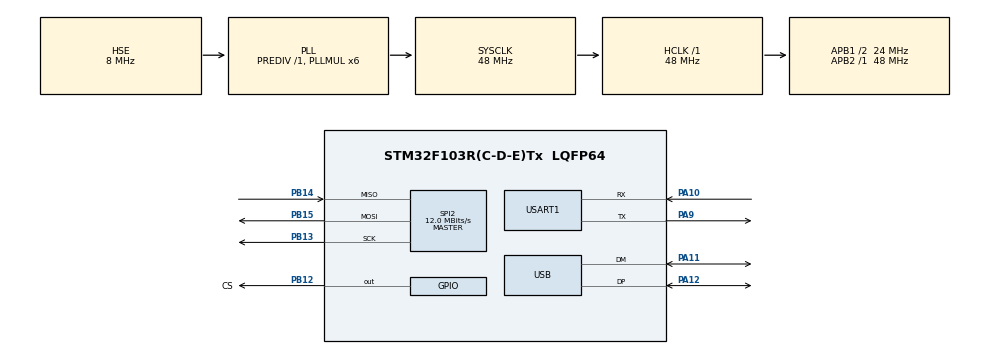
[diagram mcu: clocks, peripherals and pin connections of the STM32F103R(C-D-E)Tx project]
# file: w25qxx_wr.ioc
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Mcu.Family=STM32F1
Mcu.Name=STM32F103R(C-D-E)Tx
Mcu.Package=LQFP64
NVIC.PriorityGroup=NVIC_PRIORITYGROUP_4
NVIC.USART1_IRQn=true\:0\:0\:false\:false\:true\:true\:true\:true
NVIC.USB_LP_CAN1_RX0_IRQn=true\:0\:0\:false\:false\:true\:false\:true\:true
PA10.Mode=Asynchronous
PA10.Signal=USART1_RX
PA11.Mode=Device
PA11.Signal=USB_DM
PA12.Mode=Device
PA12.Signal=USB_DP
PA13.Mode=Serial_Wire
PA13.Signal=SYS_JTMS-SWDIO
PA14.Mode=Serial_Wire
PA14.Signal=SYS_JTCK-SWCLK
PA9.Mode=Asynchronous
PA9.Signal=USART1_TX
PB12.GPIO_Label=CS
PB12.GPIO_Speed=GPIO_SPEED_FREQ_HIGH
PB12.PinState=GPIO_PIN_SET
PB12.Signal=GPIO_Output
PB13.Mode=Full_Duplex_Master
PB13.Signal=SPI2_SCK
PB14.Mode=Full_Duplex_Master
PB14.Signal=SPI2_MISO
PB15.Mode=Full_Duplex_Master
PB15.Signal=SPI2_MOSI
PD0-OSC_IN.Mode=HSE-External-Oscillator
PD0-OSC_IN.Signal=RCC_OSC_IN
PD1-OSC_OUT.Mode=HSE-External-Oscillator
PD1-OSC_OUT.Signal=RCC_OSC_OUT
ProjectManager.HeapSize=0x200
ProjectManager.StackSize=0x400
ProjectManager.TargetToolchain=MDK-ARM V5.32
RCC.AHBFreq_Value=48000000
RCC.APB1CLKDivider=RCC_HCLK_DIV2
RCC.APB1Freq_Value=24000000
RCC.APB1TimFreq_Value=48000000
RCC.APB2Freq_Value=48000000
RCC.APB2TimFreq_Value=48000000
RCC.HCLKFreq_Value=48000000
RCC.PLLMUL=RCC_PLL_MUL6
RCC.PLLSourceVirtual=RCC_PLLSOURCE_HSE
RCC.SYSCLKFreq_VALUE=48000000
RCC.SYSCLKSource=RCC_SYSCLKSOURCE_PLLCLK
RCC.USBFreq_Value=48000000
SPI2.BaudRatePrescaler=SPI_BAUDRATEPRESCALER_2
SPI2.CLKPhase=SPI_PHASE_1EDGE
SPI2.CLKPolarity=SPI_POLARITY_LOW
SPI2.CRCCalculation=SPI_CRCCALCULATION_ENABLE
SPI2.CRCPolynomial=X1+X3
SPI2.CalculateBaudRate=12.0 MBits/s
SPI2.Direction=SPI_DIRECTION_2LINES
SPI2.FirstBit=SPI_FIRSTBIT_MSB
SPI2.Mode=SPI_MODE_MASTER
SPI2.VirtualType=VM_MASTER
USART1.VirtualMode=VM_ASYNC
USB_DEVICE.CLASS_NAME_FS=MSC
USB_DEVICE.MSC_MEDIA_PACKET=4096
USB_DEVICE.VirtualMode=Msc
USB_DEVICE.VirtualModeFS=Msc_FS
VP_USB_DEVICE_VS_USB_DEVICE_MSC_FS.Mode=MSC_FS
board=custom

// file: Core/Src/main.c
/* USER CODE BEGIN Header */
/**
  ******************************************************************************
  * @file           : main.c
  * @brief          : Main program body
  ******************************************************************************
  * @attention
  *
  * Copyright (c) 2023 STMicroelectronics.
  * All rights reserved.
  *
  * This software is licensed under terms that can be found in the LICENSE file
  * in the root directory of this software component.
  * If no LICENSE file comes with this software, it is provided AS-IS.
  *
  ******************************************************************************
  */
/* USER CODE END Header */
#include "main.h"
#include "spi.h"
#include "usart.h"
#include "usb_device.h"
#include "gpio.h"

/* USER CODE BEGIN Includes */
#include <stdio.h>
#include <string.h>
#include "W25Qx.h"
/* USER CODE END Includes */

/* USER CODE BEGIN PD */
#define RX_BUF_LEN 4096
/* USER CODE END PD */

/* USER CODE BEGIN PV */
uint8_t wData[0x100];
uint8_t rData[0x100];
uint16_t ID16;
uint32_t i;
uint8_t USART_RX_BUF[RX_BUF_LEN];

uint16_t write_addr = 0;

extern unsigned char gImage_1[];
unsigned char *image = gImage_1;
/* USER CODE END PV */

void SystemClock_Config(void);

/* USER CODE BEGIN 0 */
int fputc(int ch, FILE *f)
{
    uint8_t temp[1] = {ch};
    HAL_UART_Transmit(&huart1, temp, 1, 2);
    return ch;
}
/* USER CODE END 0 */

int main(void)
{

  /* MCU Configuration--------------------------------------------------------*/

  /* Reset of all peripherals, Initializes the Flash interface and the Systick. */
  HAL_Init();

  /* Configure the system clock */
  SystemClock_Config();

  /* Initialize all configured peripherals */
  MX_GPIO_Init();
  MX_SPI2_Init();
  MX_USART1_UART_Init();
  MX_USB_DEVICE_Init();
  /* USER CODE BEGIN 2 */
	/*##-1- Read the device ID  ########################*/
	BSP_W25Qx_Init();
    printf("\r\n SPI-W25Qxxx Example \r\n\r\n");
//    BSP_W25Qx_Read_ID(ID);
	ID16 = W25QXX_ReadID();

//	if((ID[0] != 0xEF) | (ID[1] != 0x17))
    if(ID16 != 0xef17)
	{
//        printf("\r\n 0x%.2x 0x%.2x \r\n\r\n",ID[0],ID[1]);
        printf("\r\n 0x%.4x \r\n\r\n",ID16);
        printf("\r\n ERROR! \r\n\r\n");
		Error_Handler();
	}
	else
	{
		printf(" CONNECTED ! \r\n W25Qxxx ID is : ");
//		for(i=0;i<2;i++)
//		{
//			printf("0x%02X ",ID[i]);
//		}
        printf("0x%.4x\r\n", ID16);
		printf("\r\n");
	}
	/*##-1.5- Cheak Flash 0xff ###########################*/
    #if 0
    W25QXX_Read(USART_RX_BUF, 0, 4096);
	for(i=0; i<4096; i++)
	{
		if(USART_RX_BUF[i] > 0xf)
			printf("%x ", USART_RX_BUF[i]);
		else
			printf("0%x ", USART_RX_BUF[i]);
	}
	while(1){};
    #endif

//	/*##-2- Erase Block ##################################*/
//	if(BSP_W25Qx_Erase_Block(0) == W25Qx_OK)
//		printf(" QSPI Erase Block ok\r\n");
//	else
//    {
//        printf(" QSPI Erase Block error\r\n");
//        Error_Handler();
//    }
//
//
	/*##-2- Written to the flash ########################*/
	/* fill buffer */
    HAL_Delay(1000);
    printf("begin to write ------> \r\n");
    write_addr = PHOTO_NUM * 115200 ;
    for(i=0;i<115200/512;i++)
    {
        W25QXX_Write(image, write_addr,512);
        image+=512;
        write_addr+=512;
        printf("\r\n %d----> \r\n",i);
    }

//	/*##-3- Read the flash     ########################*/
//	if(BSP_W25Qx_Read(rData,0x00,0x100)== W25Qx_OK)
//		printf(" QSPI Read ok\r\n\r\n");
//	else
//		Error_Handler();
//
//	printf("QSPI Read Data : \r\n");
//	for(i =0;i<0x100;i++)
//		printf("0x%02X  ",rData[i]);
//	printf("\r\n\r\n");
//
//	/*##-4- check date          ########################*/
//	if(memcmp(wData,rData,0x100) == 0 )
//		printf(" W25Q128FV QuadSPI Test OK\r\n");
//	else
//		printf(" W25Q128FV QuadSPI Test False\r\n");
  /* USER CODE END 2 */

  /* Infinite loop */
  while (1)
  {

  }
}

void SystemClock_Config(void)
{
  RCC_OscInitTypeDef RCC_OscInitStruct = {0};
  RCC_ClkInitTypeDef RCC_ClkInitStruct = {0};
  RCC_PeriphCLKInitTypeDef PeriphClkInit = {0};

  /** Initializes the RCC Oscillators according to the specified parameters
  * in the RCC_OscInitTypeDef structure.
  */
  RCC_OscInitStruct.OscillatorType = RCC_OSCILLATORTYPE_HSE;
  RCC_OscInitStruct.HSEState = RCC_HSE_ON;
  RCC_OscInitStruct.HSEPredivValue = RCC_HSE_PREDIV_DIV1;
  RCC_OscInitStruct.HSIState = RCC_HSI_ON;
  RCC_OscInitStruct.PLL.PLLState = RCC_PLL_ON;
  RCC_OscInitStruct.PLL.PLLSource = RCC_PLLSOURCE_HSE;
  RCC_OscInitStruct.PLL.PLLMUL = RCC_PLL_MUL6;
  if (HAL_RCC_OscConfig(&RCC_OscInitStruct) != HAL_OK)
  {
    Error_Handler();
  }

  /** Initializes the CPU, AHB and APB buses clocks
  */
  RCC_ClkInitStruct.ClockType = RCC_CLOCKTYPE_HCLK|RCC_CLOCKTYPE_SYSCLK
                              |RCC_CLOCKTYPE_PCLK1|RCC_CLOCKTYPE_PCLK2;
  RCC_ClkInitStruct.SYSCLKSource = RCC_SYSCLKSOURCE_PLLCLK;
  RCC_ClkInitStruct.AHBCLKDivider = RCC_SYSCLK_DIV1;
  RCC_ClkInitStruct.APB1CLKDivider = RCC_HCLK_DIV2;
  RCC_ClkInitStruct.APB2CLKDivider = RCC_HCLK_DIV1;

  if (HAL_RCC_ClockConfig(&RCC_ClkInitStruct, FLASH_LATENCY_1) != HAL_OK)
  {
    Error_Handler();
  }
  PeriphClkInit.PeriphClockSelection = RCC_PERIPHCLK_USB;
  PeriphClkInit.UsbClockSelection = RCC_USBCLKSOURCE_PLL;
  if (HAL_RCCEx_PeriphCLKConfig(&PeriphClkInit) != HAL_OK)
  {
    Error_Handler();
  }
}

void Error_Handler(void)
{
  __disable_irq();
  while (1)
  {
  }
}
